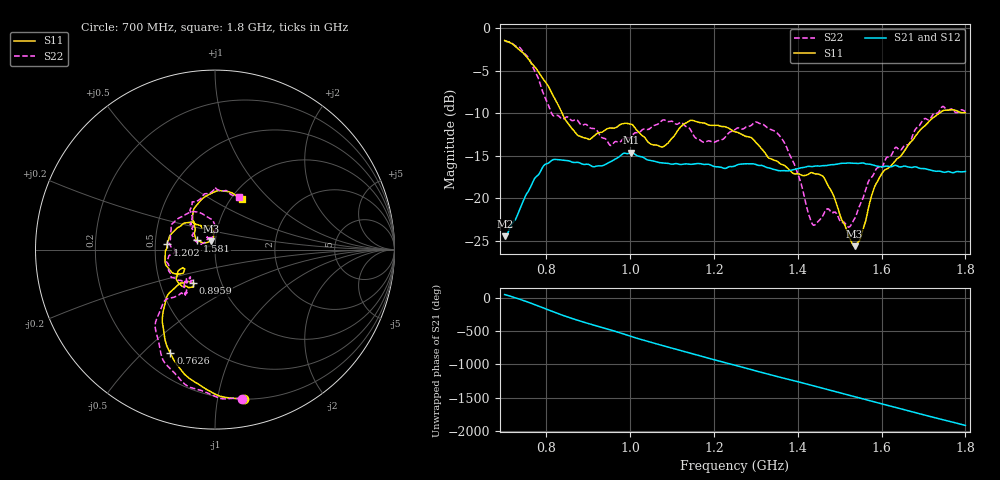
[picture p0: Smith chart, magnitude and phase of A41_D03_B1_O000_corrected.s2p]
! Created with skrf 1.9.0 (http://scikit-rf.org).
# Hz S RI R 50.0
!freq ReS11 ImS11 ReS21 ImS21 ReS12 ImS12 ReS22 ImS22
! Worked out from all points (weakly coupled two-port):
!   1601 points, 700 MHz to 1.8 GHz, reference 50 ohm
!   highest |S21| = -14.64 dB at 1.002 GHz (marker M1); lowest = -24.5 dB at 701.4 MHz (marker M2)
!   lowest |S11| = -25.7 dB at 1.535 GHz (marker M3), VSWR 1.11, Z = 47.6 + j4.52 ohm
!   |S11| at or under -10 dB: 837.1 MHz to 1.738 GHz (900.8 MHz wide, 70 % of centre)
!   |S22| runs from -23.4 to -1.5 dB; largest |S21 - S12| = 0.0034
!   S11 on the Smith chart (normalised r, x): 700 MHz: 0.20, -1.19; 762.6 MHz: 0.32, -0.61; 895.9 MHz: 0.73, -0.29; 1.202 GHz: 0.58, +0.04; 1.581 GHz: 0.81, +0.08; 1.8 GHz: 1.13, +0.70
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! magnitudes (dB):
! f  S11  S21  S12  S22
! 700 MHz  -1.4  -24.5  -24.2  -1.5
! 701.4 MHz  -1.5  -24.5  -24.1  -1.5
! 762.6 MHz  -4.0  -18.6  -18.6  -4.0
! 814.8 MHz  -7.8  -15.5  -15.6  -10.2
! 883.6 MHz  -12.8  -16.0  -15.8  -11.4
! 895.9 MHz  -13.0  -16.0  -16.1  -11.3
! 953 MHz  -11.7  -15.7  -15.7  -13.8
! 1.002 GHz  -11.3  -14.6  -14.8  -12.7
! 1.067 GHz  -13.8  -15.8  -15.7  -11.2
! 1.142 GHz  -10.9  -16.0  -16.0  -11.8
! 1.202 GHz  -11.4  -16.3  -16.3  -13.4
! 1.25 GHz  -12.2  -16.2  -16.1  -11.9
! 1.302 GHz  -13.5  -16.1  -16.0  -11.0
! 1.356 GHz  -15.9  -16.8  -16.7  -12.6
! 1.394 GHz  -17.1  -16.6  -16.6  -16.3
! 1.434 GHz  -17.0  -16.3  -16.2  -23.0
! 1.464 GHz  -17.7  -16.2  -16.1  -21.6
! 1.535 GHz  -25.7  -15.9  -15.9  -22.4
! 1.581 GHz  -19.0  -16.1  -16.1  -17.2
! 1.617 GHz  -16.4  -16.3  -16.2  -15.2
! 1.739 GHz  -10.0  -16.8  -16.9  -9.7
! 1.8 GHz  -9.9  -16.9  -16.9  -9.8
